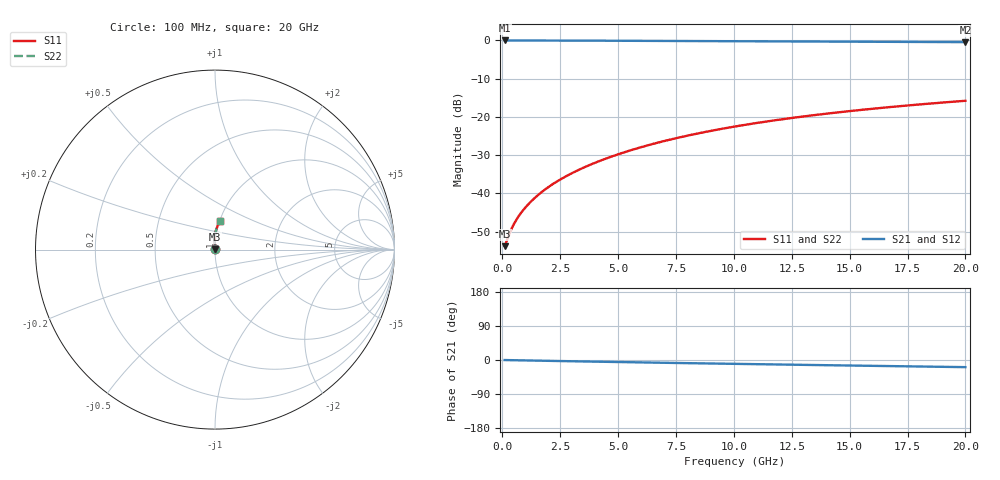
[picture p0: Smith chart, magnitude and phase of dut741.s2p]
! Touchstone file exported from HFSS 2024.1.0
!  File:  C:/UserFiles/LocalFiles/RDL_TSV_Batchsim/temp_RDL_top_741_1779851437.aedt
!  Generated:  11:12:53 AM May 27, 2026
!  Design:  RDL_top
!  Project:  temp_RDL_top_741_1779851437
!  Setup:  Setup1
!  Solution:  Sweep
! Variables:
!  dtsv = 10.80580581um
!  hbump = 3um
!  htsv = 67.72um
!  ldown = 100um
!  lrdl = 271.22um
!  p = 40
!  p1 = 43.83um
!  rhole = 1um
!  t = 450um
!  tdown = 3.915915916um
!  trdl = 2.32um
!  wdown = 15.38538539um
!  wrdl = 27.48um
# GHz S MA R 50.000000
! Terminal data exported
! Port[1] = Box2_T1
! Port[2] = Box2_T2
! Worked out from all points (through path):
!   200 points, 100 MHz to 20 GHz, reference 50 ohm
!   highest |S21| = -0.02 dB at 100 MHz (marker M1); lowest = -0.5 dB at 20 GHz (marker M2)
!   group delay of S21, straight-line fit = 2.58 ps
!   lowest |S11| = -53.8 dB at 100 MHz (marker M3), VSWR 1.00, Z = 50.2 + j0.073 ohm
!   |S11| at or under -10 dB: start of sweep to end of sweep
!   |S22| runs from -53.8 to -15.8 dB; largest |S21 - S12| = 2.4e-15
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0.1  0.002037 20.9  0.9981 -0.1  0.9981 -0.1  0.002037 20.9
! Gamma 0 0 0 0
! Port Impedance 50 0 50 0
0.3  0.002927 45.3  0.9979 -0.4  0.9979 -0.4  0.002927 45.3
0.4  0.003443 51.5  0.9978 -0.5  0.9978 -0.5  0.003443 51.5
0.6  0.004471 59.7  0.9975 -0.7  0.9975 -0.7  0.004471 59.7
0.7  0.004983 62.7  0.9974 -0.8  0.9974 -0.8  0.004983 62.7
0.9  0.006014 67.5  0.9972 -1.0  0.9972 -1.0  0.006014 67.5
1.2  0.007604 72.9  0.9968 -1.4  0.9968 -1.4  0.007604 72.9
1.4  0.008697 75.6  0.9966 -1.6  0.9966 -1.6  0.008697 75.6
1.7  0.01038 78.9  0.9962 -1.9  0.9962 -1.9  0.01038 78.9
2.2  0.01331 82.9  0.9954 -2.5  0.9954 -2.5  0.01331 82.9
2.8  0.01702 86.2  0.9943 -3.1  0.9943 -3.1  0.01702 86.2
3.5  0.02161 88.9  0.9928 -3.8  0.9928 -3.8  0.02161 88.9
4.2  0.02648 90.7  0.9911 -4.6  0.9911 -4.6  0.02648 90.7
5  0.03237 92.0  0.989 -5.4  0.989 -5.4  0.03237 91.9
5.9  0.03937 92.7  0.9864 -6.3  0.9864 -6.3  0.03937 92.7
6.8  0.04669 92.9  0.9837 -7.2  0.9837 -7.2  0.04669 92.9
8.4  0.0603 92.3  0.979 -8.7  0.979 -8.7  0.0603 92.3
10.1  0.07526 91.0  0.9741 -10.3  0.9741 -10.3  0.07526 91.0
11.7  0.08955 89.4  0.9697 -11.7  0.9697 -11.7  0.08955 89.3
13.4  0.1048 87.5  0.9651 -13.2  0.9651 -13.2  0.1047 87.5
16.7  0.1339 83.7  0.9568 -16.0  0.9568 -16.0  0.1339 83.7
20  0.1623 80.0  0.9488 -18.9  0.9488 -18.9  0.1623 80.0
